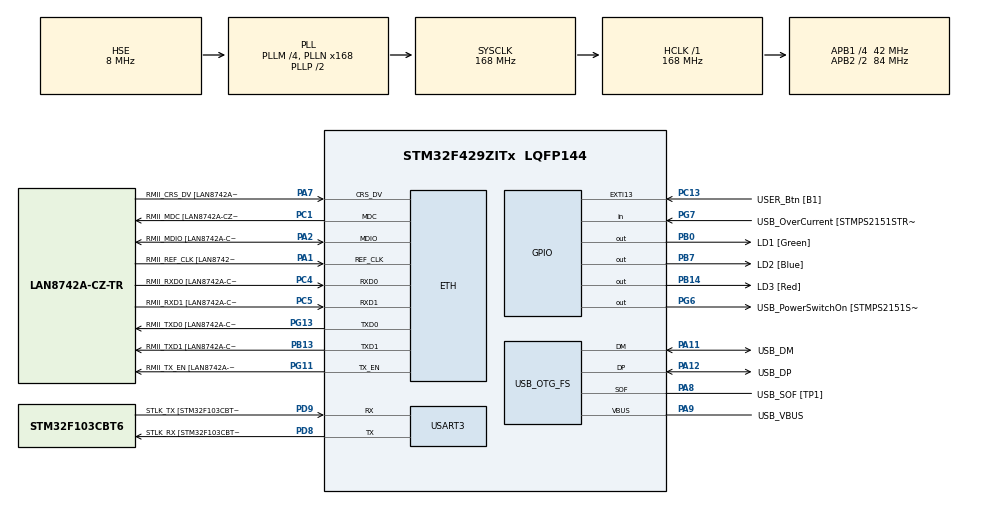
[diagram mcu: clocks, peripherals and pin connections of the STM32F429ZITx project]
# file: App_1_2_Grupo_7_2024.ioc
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ETH.MediaInterface=HAL_ETH_RMII_MODE
ETH.PHY_Name=LAN8742A_PHY_ADDRESS
ETH.PHY_Value=0
ETH.PhyAddress=0
Mcu.Family=STM32F4
Mcu.Name=STM32F429ZITx
Mcu.Package=LQFP144
NVIC.PriorityGroup=NVIC_PRIORITYGROUP_4
PA1.GPIO_Label=RMII_REF_CLK [LAN8742A-CZ-TR_REFCLK0]
PA1.Mode=RMII
PA1.Signal=ETH_REF_CLK
PA10.GPIO_Label=USB_ID
PA10.Signal=USB_OTG_FS_ID
PA11.GPIO_Label=USB_DM
PA11.Mode=Device_Only
PA11.Signal=USB_OTG_FS_DM
PA12.GPIO_Label=USB_DP
PA12.Mode=Device_Only
PA12.Signal=USB_OTG_FS_DP
PA13.GPIO_Label=TMS
PA13.Mode=Serial_Wire
PA13.Signal=SYS_JTMS-SWDIO
PA14.GPIO_Label=TCK
PA14.Mode=Serial_Wire
PA14.Signal=SYS_JTCK-SWCLK
PA2.GPIO_Label=RMII_MDIO [LAN8742A-CZ-TR_MDIO]
PA2.Mode=RMII
PA2.Signal=ETH_MDIO
PA7.GPIO_Label=RMII_CRS_DV [LAN8742A-CZ-TR_CRS_DV]
PA7.Mode=RMII
PA7.Signal=ETH_CRS_DV
PA8.GPIO_Label=USB_SOF [TP1]
PA8.Mode=Activate_SOF_FS
PA8.Signal=USB_OTG_FS_SOF
PA9.GPIO_Label=USB_VBUS
PA9.Mode=Activate_VBUS
PA9.Signal=USB_OTG_FS_VBUS
PB0.GPIO_Label=LD1 [Green]
PB0.Signal=GPIO_Output
PB13.GPIO_Label=RMII_TXD1 [LAN8742A-CZ-TR_TXD1]
PB13.Mode=RMII
PB13.Signal=ETH_TXD1
PB14.GPIO_Label=LD3 [Red]
PB14.Signal=GPIO_Output
PB7.GPIO_Label=LD2 [Blue]
PB7.Signal=GPIO_Output
PC1.GPIO_Label=RMII_MDC [LAN8742A-CZ-TR_MDC]
PC1.Mode=RMII
PC1.Signal=ETH_MDC
PC13.GPIO_Label=USER_Btn [B1]
PC13.Signal=GPXTI13
PC14/OSC32_IN.Mode=LSE-External-Oscillator
PC14/OSC32_IN.Signal=RCC_OSC32_IN
PC15/OSC32_OUT.Mode=LSE-External-Oscillator
PC15/OSC32_OUT.Signal=RCC_OSC32_OUT
PC4.GPIO_Label=RMII_RXD0 [LAN8742A-CZ-TR_RXD0]
PC4.Mode=RMII
PC4.Signal=ETH_RXD0
PC5.GPIO_Label=RMII_RXD1 [LAN8742A-CZ-TR_RXD1]
PC5.Mode=RMII
PC5.Signal=ETH_RXD1
PD8.GPIO_Label=STLK_RX [STM32F103CBT6_PA3]
PD8.Mode=Asynchronous
PD8.Signal=USART3_TX
PD9.GPIO_Label=STLK_TX [STM32F103CBT6_PA2]
PD9.Mode=Asynchronous
PD9.Signal=USART3_RX
PG11.GPIO_Label=RMII_TX_EN [LAN8742A-CZ-TR_TXEN]
PG11.Mode=RMII
PG11.Signal=ETH_TX_EN
PG13.GPIO_Label=RMII_TXD0 [LAN8742A-CZ-TR_TXD0]
PG13.Mode=RMII
PG13.Signal=ETH_TXD0
PG6.GPIO_Label=USB_PowerSwitchOn [STMPS2151STR_EN]
PG6.Signal=GPIO_Output
PG7.GPIO_Label=USB_OverCurrent [STMPS2151STR_FAULT]
PG7.Signal=GPIO_Input
PH0/OSC_IN.GPIO_Label=MCO [STM32F103CBT6_PA8]
PH0/OSC_IN.Mode=HSE-External-Clock-Source
PH0/OSC_IN.Signal=RCC_OSC_IN
PH1/OSC_OUT.Mode=HSE-External-Clock-Source
PH1/OSC_OUT.Signal=RCC_OSC_OUT
ProjectManager.HeapSize=0x200
ProjectManager.StackSize=0x400
ProjectManager.TargetToolchain=STM32CubeIDE
RCC.48MHZClocksFreq_Value=48000000
RCC.AHBFreq_Value=168000000
RCC.APB1CLKDivider=RCC_HCLK_DIV4
RCC.APB1Freq_Value=42000000
RCC.APB1TimFreq_Value=84000000
RCC.APB2CLKDivider=RCC_HCLK_DIV2
RCC.APB2Freq_Value=84000000
RCC.APB2TimCLKDivider=2
RCC.APB2TimFreq_Value=168000000
RCC.CortexFreq_Value=168000000
RCC.HCLKFreq_Value=168000000
RCC.HSE_VALUE=8000000
RCC.HSI_VALUE=16000000
RCC.PLLM=4
RCC.PLLMUL=RCC_PLL_MUL9
RCC.PLLN=168
RCC.PLLQ=7
RCC.PRESCALERUSB=RCC_USBCLKSOURCE_PLL_DIV1_5
RCC.SYSCLKFreq_VALUE=168000000
RCC.SYSCLKSource=RCC_SYSCLKSOURCE_PLLCLK
RCC.SYSCLKSourceVirtual=RCC_SYSCLKSOURCE_PLLCLK
RCC.USBFreq_Value=48000000
RCC.VCOOutputFreq_Value=336000000
USART3.VirtualMode=VM_ASYNC
USB_OTG_FS.VirtualMode=Device_Only
board=NUCLEO-F429ZI

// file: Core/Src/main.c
/* USER CODE BEGIN Header */
/**
  ******************************************************************************
  * @file           : main.c
  * @brief          : Main program body
  ******************************************************************************
  * @attention
  *
  * Copyright (c) 2024 STMicroelectronics.
  * All rights reserved.
  *
  * This software is licensed under terms that can be found in the LICENSE file
  * in the root directory of this software component.
  * If no LICENSE file comes with this software, it is provided AS-IS.
  *
  ******************************************************************************
  */
/* USER CODE END Header */
#include "main.h"
#include "string.h"

ETH_TxPacketConfig TxConfig;
ETH_DMADescTypeDef  DMARxDscrTab[ETH_RX_DESC_CNT]; /* Ethernet Rx DMA Descriptors */
ETH_DMADescTypeDef  DMATxDscrTab[ETH_TX_DESC_CNT]; /* Ethernet Tx DMA Descriptors */

ETH_HandleTypeDef heth;

UART_HandleTypeDef huart3;

PCD_HandleTypeDef hpcd_USB_OTG_FS;

void SystemClock_Config(void);
static void MX_GPIO_Init(void);
static void MX_ETH_Init(void);
static void MX_USART3_UART_Init(void);
static void MX_USB_OTG_FS_PCD_Init(void);

int main(void)
{

  /* MCU Configuration--------------------------------------------------------*/

  /* Reset of all peripherals, Initializes the Flash interface and the Systick. */
  HAL_Init();

  /* USER CODE BEGIN Init */
  int LEDS[3] = {LD1_Pin, LD2_Pin, LD3_Pin};
  int aux = 0;
  /* USER CODE END Init */

  /* Configure the system clock */
  SystemClock_Config();

  /* Initialize all configured peripherals */
  MX_GPIO_Init();
  MX_ETH_Init();
  MX_USART3_UART_Init();
  MX_USB_OTG_FS_PCD_Init();

  /* Infinite loop */
  /* USER CODE BEGIN WHILE */
  while (1)
  {
	  aux=aux+HAL_GPIO_ReadPin(GPIOC, GPIO_PIN_13);
	 		  if (aux==4)
	 			  aux=0;
	 		  switch (aux)
	 		  {
	 		  case 0:
	 			  for(int i=0;i<3;i++)
	 			  {
	 				  HAL_GPIO_TogglePin(GPIOB, LEDS[i]);
	 				  HAL_Delay(200);
	 			  }
	 		      break;
	 		  default:
	 			  int i=2;
	 			  while(i >= 0)
	 			  {
	 			   HAL_GPIO_TogglePin(GPIOB, LEDS[i]);
	 			   HAL_Delay(200);
	 			   i=i-1;
	 			  }
	 		      break;
	 		  }
  }
    /* USER CODE END WHILE */

}

void SystemClock_Config(void)
{
  RCC_OscInitTypeDef RCC_OscInitStruct = {0};
  RCC_ClkInitTypeDef RCC_ClkInitStruct = {0};

  /** Configure the main internal regulator output voltage
  */
  __HAL_RCC_PWR_CLK_ENABLE();
  __HAL_PWR_VOLTAGESCALING_CONFIG(PWR_REGULATOR_VOLTAGE_SCALE1);

  /** Initializes the RCC Oscillators according to the specified parameters
  * in the RCC_OscInitTypeDef structure.
  */
  RCC_OscInitStruct.OscillatorType = RCC_OSCILLATORTYPE_HSE;
  RCC_OscInitStruct.HSEState = RCC_HSE_BYPASS;
  RCC_OscInitStruct.PLL.PLLState = RCC_PLL_ON;
  RCC_OscInitStruct.PLL.PLLSource = RCC_PLLSOURCE_HSE;
  RCC_OscInitStruct.PLL.PLLM = 4;
  RCC_OscInitStruct.PLL.PLLN = 168;
  RCC_OscInitStruct.PLL.PLLP = RCC_PLLP_DIV2;
  RCC_OscInitStruct.PLL.PLLQ = 7;
  if (HAL_RCC_OscConfig(&RCC_OscInitStruct) != HAL_OK)
  {
    Error_Handler();
  }

  /** Initializes the CPU, AHB and APB buses clocks
  */
  RCC_ClkInitStruct.ClockType = RCC_CLOCKTYPE_HCLK|RCC_CLOCKTYPE_SYSCLK
                              |RCC_CLOCKTYPE_PCLK1|RCC_CLOCKTYPE_PCLK2;
  RCC_ClkInitStruct.SYSCLKSource = RCC_SYSCLKSOURCE_PLLCLK;
  RCC_ClkInitStruct.AHBCLKDivider = RCC_SYSCLK_DIV1;
  RCC_ClkInitStruct.APB1CLKDivider = RCC_HCLK_DIV4;
  RCC_ClkInitStruct.APB2CLKDivider = RCC_HCLK_DIV2;

  if (HAL_RCC_ClockConfig(&RCC_ClkInitStruct, FLASH_LATENCY_5) != HAL_OK)
  {
    Error_Handler();
  }
}

static void MX_ETH_Init(void)
{

   static uint8_t MACAddr[6];

  heth.Instance = ETH;
  MACAddr[0] = 0x00;
  MACAddr[1] = 0x80;
  MACAddr[2] = 0xE1;
  MACAddr[3] = 0x00;
  MACAddr[4] = 0x00;
  MACAddr[5] = 0x00;
  heth.Init.MACAddr = &MACAddr[0];
  heth.Init.MediaInterface = HAL_ETH_RMII_MODE;
  heth.Init.TxDesc = DMATxDscrTab;
  heth.Init.RxDesc = DMARxDscrTab;
  heth.Init.RxBuffLen = 1524;

  if (HAL_ETH_Init(&heth) != HAL_OK)
  {
    Error_Handler();
  }

  memset(&TxConfig, 0 , sizeof(ETH_TxPacketConfig));
  TxConfig.Attributes = ETH_TX_PACKETS_FEATURES_CSUM | ETH_TX_PACKETS_FEATURES_CRCPAD;
  TxConfig.ChecksumCtrl = ETH_CHECKSUM_IPHDR_PAYLOAD_INSERT_PHDR_CALC;
  TxConfig.CRCPadCtrl = ETH_CRC_PAD_INSERT;

}

static void MX_USART3_UART_Init(void)
{

  huart3.Instance = USART3;
  huart3.Init.BaudRate = 115200;
  huart3.Init.WordLength = UART_WORDLENGTH_8B;
  huart3.Init.StopBits = UART_STOPBITS_1;
  huart3.Init.Parity = UART_PARITY_NONE;
  huart3.Init.Mode = UART_MODE_TX_RX;
  huart3.Init.HwFlowCtl = UART_HWCONTROL_NONE;
  huart3.Init.OverSampling = UART_OVERSAMPLING_16;
  if (HAL_UART_Init(&huart3) != HAL_OK)
  {
    Error_Handler();
  }

}

static void MX_USB_OTG_FS_PCD_Init(void)
{

  hpcd_USB_OTG_FS.Instance = USB_OTG_FS;
  hpcd_USB_OTG_FS.Init.dev_endpoints = 4;
  hpcd_USB_OTG_FS.Init.speed = PCD_SPEED_FULL;
  hpcd_USB_OTG_FS.Init.dma_enable = DISABLE;
  hpcd_USB_OTG_FS.Init.phy_itface = PCD_PHY_EMBEDDED;
  hpcd_USB_OTG_FS.Init.Sof_enable = ENABLE;
  hpcd_USB_OTG_FS.Init.low_power_enable = DISABLE;
  hpcd_USB_OTG_FS.Init.lpm_enable = DISABLE;
  hpcd_USB_OTG_FS.Init.vbus_sensing_enable = ENABLE;
  hpcd_USB_OTG_FS.Init.use_dedicated_ep1 = DISABLE;
  if (HAL_PCD_Init(&hpcd_USB_OTG_FS) != HAL_OK)
  {
    Error_Handler();
  }

}

static void MX_GPIO_Init(void)
{
  GPIO_InitTypeDef GPIO_InitStruct = {0};

  /* GPIO Ports Clock Enable */
  __HAL_RCC_GPIOC_CLK_ENABLE();
  __HAL_RCC_GPIOH_CLK_ENABLE();
  __HAL_RCC_GPIOA_CLK_ENABLE();
  __HAL_RCC_GPIOB_CLK_ENABLE();
  __HAL_RCC_GPIOD_CLK_ENABLE();
  __HAL_RCC_GPIOG_CLK_ENABLE();

  /*Configure GPIO pin Output Level */
  HAL_GPIO_WritePin(GPIOB, LD1_Pin|LD3_Pin|LD2_Pin, GPIO_PIN_RESET);

  /*Configure GPIO pin Output Level */
  HAL_GPIO_WritePin(USB_PowerSwitchOn_GPIO_Port, USB_PowerSwitchOn_Pin, GPIO_PIN_RESET);

  /*Configure GPIO pin : USER_Btn_Pin */
  GPIO_InitStruct.Pin = USER_Btn_Pin;
  GPIO_InitStruct.Mode = GPIO_MODE_IT_RISING;
  GPIO_InitStruct.Pull = GPIO_NOPULL;
  HAL_GPIO_Init(USER_Btn_GPIO_Port, &GPIO_InitStruct);

  /*Configure GPIO pins : LD1_Pin LD3_Pin LD2_Pin */
  GPIO_InitStruct.Pin = LD1_Pin|LD3_Pin|LD2_Pin;
  GPIO_InitStruct.Mode = GPIO_MODE_OUTPUT_PP;
  GPIO_InitStruct.Pull = GPIO_NOPULL;
  GPIO_InitStruct.Speed = GPIO_SPEED_FREQ_LOW;
  HAL_GPIO_Init(GPIOB, &GPIO_InitStruct);

  /*Configure GPIO pin : USB_PowerSwitchOn_Pin */
  GPIO_InitStruct.Pin = USB_PowerSwitchOn_Pin;
  GPIO_InitStruct.Mode = GPIO_MODE_OUTPUT_PP;
  GPIO_InitStruct.Pull = GPIO_NOPULL;
  GPIO_InitStruct.Speed = GPIO_SPEED_FREQ_LOW;
  HAL_GPIO_Init(USB_PowerSwitchOn_GPIO_Port, &GPIO_InitStruct);

  /*Configure GPIO pin : USB_OverCurrent_Pin */
  GPIO_InitStruct.Pin = USB_OverCurrent_Pin;
  GPIO_InitStruct.Mode = GPIO_MODE_INPUT;
  GPIO_InitStruct.Pull = GPIO_NOPULL;
  HAL_GPIO_Init(USB_OverCurrent_GPIO_Port, &GPIO_InitStruct);

}

void Error_Handler(void)
{
  __disable_irq();
  while (1)
  {
  }
}
